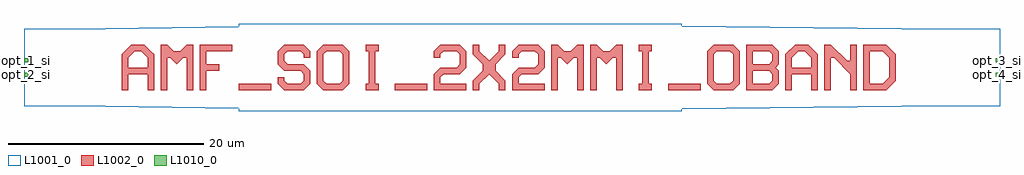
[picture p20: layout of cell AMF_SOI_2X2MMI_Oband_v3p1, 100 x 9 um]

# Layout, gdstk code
import gdstk
lib = gdstk.Library(unit=1e-6, precision=1e-09)
def R(c, l, rs):  # rectangles x0, y0, x1, y1
    for r in rs: c.add(gdstk.rectangle(r[:2], r[2:], *l))
def P(c, l, *ps):  # polygons
    for p in ps: c.add(gdstk.Polygon(p, *l))
L1001_0 = (1001, 0)
L1002_0 = (1002, 0)
L1010_0 = (1010, 0)

amf_soi_2x2mmi_oband_v3p = lib.new_cell('AMF_SOI_2X2MMI_Oband_v3p1')
P(amf_soi_2x2mmi_oband_v3p, L1001_0, [(22,-4.5),(22,-4.249),(4.948,-3.955),(0,-3.955),(0,3.955),(4.948,3.955),(22,4.249),(22,4.5),(67.4,4.5),(67.4,4.266),(94.4,3.955),(100,3.955),(100,-3.955),(94.4,-3.955),(67.4,-4.266),(67.4,-4.5)])
R(amf_soi_2x2mmi_oband_v3p, L1002_0, [(22,-2.333,25.334,-1.666), (38,-2.333,41.334,-1.666), (66,-2.333,69.334,-1.666)])
P(amf_soi_2x2mmi_oband_v3p, L1002_0, [(10,-2.333),(10,1.334),(11,2.334),(12.333,2.334),(13,1.667),(11.333,1.667),(10.667,1.001),(10.667,0),(12.667,0),(12.667,1.001),(12,1.667),(13,1.667),(13.334,1.334),(13.334,-2.333),(12.667,-2.333),(12.667,-0.666),(10.667,-0.666),(10.667,-2.333)],
  [(14,-2.333),(14,2.334),(14.667,2.334),(15.333,1.667),(16,1.667),(16.667,2.334),(17.334,2.334),(17.334,-2.333),(16.667,-2.333),(16.667,1.001),(16.333,1.001),(15.667,0.334),(15,1.001),(14.667,1.001),(14.667,-2.333)],
  [(18,-2.333),(18,2.334),(21.334,2.334),(21.334,1.667),(18.667,1.667),(18.667,0.334),(20,0.334),(20,-0.333),(18.667,-0.333),(18.667,-2.333)],
  [(26.667,-2.333),(26,-1.666),(26,-1),(26.667,-1),(26.667,-1.333),(27,-1.666),(28.333,-1.666),(28.667,-1.333),(28.667,-0.666),(28.333,-0.333),(26.667,-0.333),(26,0.334),(26,1.667),(26.667,2.334),(28.667,2.334),(29.334,1.667),(29.334,1.001),(28.667,1.001),(28.667,1.334),(28.333,1.667),(27,1.667),(26.667,1.334),(26.667,0.667),(27,0.334),(28.667,0.334),(29.334,-0.333),(29.334,-1.666),(28.667,-2.333)],
  [(30.667,-2.333),(30,-1.666),(30,1.667),(30.667,2.334),(32.667,2.334),(33.334,1.667),(33.334,0),(32.667,0),(32.667,1.334),(32.333,1.667),(31,1.667),(30.667,1.334),(30.667,-1.333),(31,-1.666),(32.333,-1.666),(32.667,-1.333),(32.667,0),(33.334,0),(33.334,-1.666),(32.667,-2.333)],
  [(35,-2.333),(35,-1.666),(35.333,-1.666),(35.333,1.667),(35,1.667),(35,2.334),(36.333,2.334),(36.333,1.667),(36,1.667),(36,-1.666),(36.333,-1.666),(36.333,-2.333)],
  [(42,-2.333),(42,-0.666),(42.667,0),(44.333,0),(44.667,0.334),(44.667,1.334),(44.333,1.667),(43,1.667),(42.667,1.334),(42.667,1.001),(42,1.001),(42,1.667),(42.667,2.334),(44.667,2.334),(45.334,1.667),(45.334,0),(44.667,-0.666),(43,-0.666),(42.667,-1),(42.667,-1.666),(45.334,-1.666),(45.334,-2.333)],
  [(46,-2.333),(46,-1.333),(47,-0.333),(47,0.334),(46,1.334),(46,2.334),(46.667,2.334),(46.667,1.667),(47.667,0.667),(48.667,1.667),(48.667,2.334),(49.334,2.334),(49.334,1.334),(48.333,0.334),(48.333,-0.333),(49.334,-1.333),(49.334,-2.333),(48.667,-2.333),(48.667,-1.666),(47.667,-0.666),(46.667,-1.666),(46.667,-2.333)],
  [(50,-2.333),(50,-0.666),(50.667,0),(52.333,0),(52.667,0.334),(52.667,1.334),(52.333,1.667),(51,1.667),(50.667,1.334),(50.667,1.001),(50,1.001),(50,1.667),(50.667,2.334),(52.667,2.334),(53.334,1.667),(53.334,0),(52.667,-0.666),(51,-0.666),(50.667,-1),(50.667,-1.666),(53.334,-1.666),(53.334,-2.333)],
  [(54,-2.333),(54,2.334),(54.667,2.334),(55.333,1.667),(56,1.667),(56.667,2.334),(57.334,2.334),(57.334,-2.333),(56.667,-2.333),(56.667,1.001),(56.333,1.001),(55.667,0.334),(55,1.001),(54.667,1.001),(54.667,-2.333)],
  [(58,-2.333),(58,2.334),(58.667,2.334),(59.333,1.667),(60,1.667),(60.667,2.334),(61.334,2.334),(61.334,-2.333),(60.667,-2.333),(60.667,1.001),(60.333,1.001),(59.667,0.334),(59,1.001),(58.667,1.001),(58.667,-2.333)],
  [(63,-2.333),(63,-1.666),(63.333,-1.666),(63.333,1.667),(63,1.667),(63,2.334),(64.333,2.334),(64.333,1.667),(64,1.667),(64,-1.666),(64.333,-1.666),(64.333,-2.333)],
  [(70.667,-2.333),(70,-1.666),(70,1.667),(70.667,2.334),(72.667,2.334),(73.334,1.667),(73.334,0),(72.667,0),(72.667,1.334),(72.333,1.667),(71,1.667),(70.667,1.334),(70.667,-1.333),(71,-1.666),(72.333,-1.666),(72.667,-1.333),(72.667,0),(73.334,0),(73.334,-1.666),(72.667,-2.333)],
  [(74,-2.333),(74,2.334),(76.667,2.334),(77.334,1.667),(74.667,1.667),(74.667,0.334),(76.333,0.334),(76.667,0.667),(76.667,1.334),(76.333,1.667),(77.334,1.667),(77.334,0.334),(77,0),(77.334,-0.333),(74.667,-0.333),(74.667,-1.666),(76.333,-1.666),(76.667,-1.333),(76.667,-0.666),(76.333,-0.333),(77.334,-0.333),(77.334,-1.666),(76.667,-2.333)],
  [(78,-2.333),(78,1.334),(79,2.334),(80.333,2.334),(81,1.667),(79.333,1.667),(78.667,1.001),(78.667,0),(80.667,0),(80.667,1.001),(80,1.667),(81,1.667),(81.334,1.334),(81.334,-2.333),(80.667,-2.333),(80.667,-0.666),(78.667,-0.666),(78.667,-2.333)],
  [(82,-2.333),(82,2.334),(82.667,2.334),(84.333,0.667),(84.667,0.667),(84.667,2.334),(85.334,2.334),(85.334,-2.333),(84.667,-2.333),(84.667,-0.666),(83,1.001),(82.667,1.001),(82.667,-2.333)],
  [(86,-2.333),(86,2.334),(88.333,2.334),(89,1.667),(86.667,1.667),(86.667,-1.666),(88,-1.666),(88.667,-1),(88.667,1.001),(88,1.667),(89,1.667),(89.334,1.334),(89.334,-1.333),(88.333,-2.333)])
R(amf_soi_2x2mmi_oband_v3p, L1010_0, [(0,-0.955,0.41,-0.545), (99.59,-0.955,100,-0.545), (0,0.545,0.41,0.955), (99.59,0.545,100,0.955)])
amf_soi_2x2mmi_oband_v3p.add(gdstk.Label('opt_3_si', (100,0.75), layer=1010, texttype=0))
amf_soi_2x2mmi_oband_v3p.add(gdstk.Label('opt_4_si', (100,-0.75), layer=1010, texttype=0))
amf_soi_2x2mmi_oband_v3p.add(gdstk.Label('opt_1_si', (0,0.75), layer=1010, texttype=0))
amf_soi_2x2mmi_oband_v3p.add(gdstk.Label('opt_2_si', (0,-0.75), layer=1010, texttype=0))

lib.write_gds('AMF_SOI_2X2MMI_Oband_v3p1.gds')
